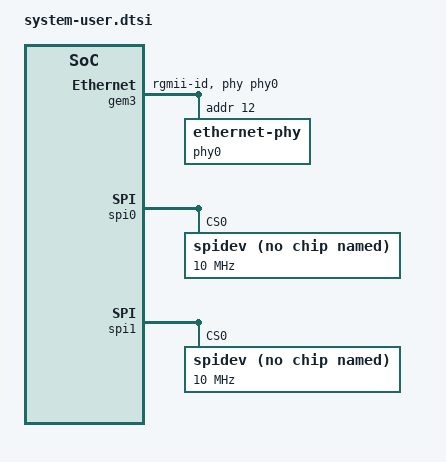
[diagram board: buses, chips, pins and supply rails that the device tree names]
/include/ "system-conf.dtsi"
/ {
chosen{ 
		bootargs = "earlycon clk_ignore_unused console=ttyPS0,115200 root=/dev/mmcblk1p2 rw rootfstype=ext4 rootwait"; 
	};
};
&gem3 { 
	status = "okay";
	phy-handle = <&phy0>;
	phy-mode = "rgmii-id";

	phy0: ethernet-phy@c {
		#phy-cells = <1>;
		reg = <0xc>;
		device_type="ethernet-phy";
		ti,rx-internal-delay = <0x8>;
		ti,tx-internal-delay = <0xa>;
		ti,fifo-depth = <0x1>;
		ti,dp83867-rxctrl-strap-quirk;
	};
};
/* SD1 with level shifter */
&sdhci1 {    
	disable-wp;
	no-1-8-v;
	max-frequency=<20000000>;
};

/* PS SPI0 */
&spi0 {
    is-decoded-cs = <0>;
    num-cs = <1>;
    status = "okay";
    spidev@0 {
        compatible="rohm,dh2228fv";
        reg =<0>;
        spi-max-frequency = <10000000>;
    };
};

/* PS SPI1 */
&spi1 {
    is-decoded-cs = <0>;
    num-cs = <1>;
    status = "okay";
    spidev@0 {
        compatible="rohm,dh2228fv";
        reg =<0>;
        spi-max-frequency = <10000000>;
    };
};


